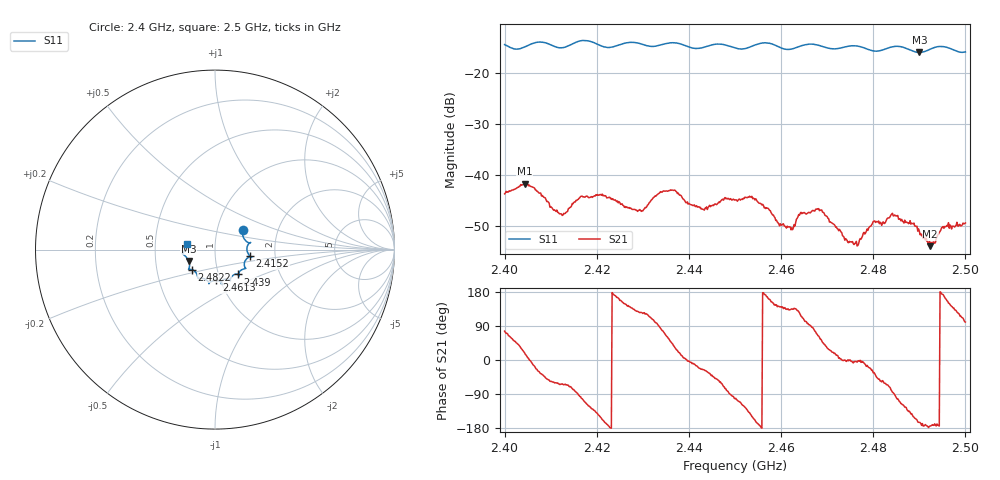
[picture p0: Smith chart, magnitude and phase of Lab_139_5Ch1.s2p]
# Hz S RI R 50
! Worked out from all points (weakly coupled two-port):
!   601 points, 2.4 GHz to 2.5 GHz, reference 50 ohm
!   highest |S21| = -41.73 dB at 2.4043 GHz (marker M1); lowest = -54.0 dB at 2.4923 GHz (marker M2)
!   lowest |S11| = -15.9 dB at 2.49 GHz (marker M3), VSWR 1.38, Z = 36.9 - j4.83 ohm
!   |S11| at or under -10 dB: start of sweep to end of sweep
!   S12 and S22 are empty: the file has one direction only
!   S11 on the Smith chart (normalised r, x): 2.4 GHz: 1.33, +0.31; 2.4152 GHz: 1.48, -0.11; 2.439 GHz: 1.24, -0.36; 2.4613 GHz: 0.96, -0.34; 2.4822 GHz: 0.76, -0.17; 2.5 GHz: 0.73, +0.05
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2.4e9  0.1551 0.1118  0.00155 0.00632  0 0  0 0
2.404333e9  0.1753 0.0454  0.00775 0.00268  0 0  0 0
2.412167e9  0.1776 0.00362  0.00183 -0.00373  0 0  0 0
2.415167e9  0.1951 -0.0364  0.000861 -0.00535  0 0  0 0
2.416667e9  0.2048 -0.0424  -0.00119 -0.00605  0 0  0 0
2.429333e9  0.1647 -0.1061  -0.00262 0.00374  0 0  0 0
2.433333e9  0.1321 -0.1324  -0.000204 0.00651  0 0  0 0
2.439e9  0.1277 -0.1386  0.00563 0.000524  0 0  0 0
2.443167e9  0.0895 -0.1556  0.00413 -0.00196  0 0  0 0
2.45e9  0.069 -0.1635  -0.0012 -0.00555  0 0  0 0
2.454e9  0.0351 -0.1835  -0.00533 -0.00255  0 0  0 0
2.461333e9  0.00747 -0.1711  -0.00215 0.00228  0 0  0 0
2.466667e9  -0.0339 -0.1902  0.000287 0.0044  0 0  0 0
2.468667e9  -0.035 -0.1817  0.00262 0.00369  0 0  0 0
2.476167e9  -0.0944 -0.16  0.00212 -0.000129  0 0  0 0
2.480167e9  -0.1081 -0.1252  0.00295 -0.00192  0 0  0 0
2.482167e9  -0.1282 -0.1117  0.0019 -0.00288  0 0  0 0
2.483333e9  -0.1394 -0.1101  0.00137 -0.00352  0 0  0 0
2.49e9  -0.1467 -0.0637  -0.0027 -0.000739  0 0  0 0
2.492333e9  -0.1689 -0.0331  -0.00198 -0.000199  0 0  0 0
2.495333e9  -0.1811 -0.0204  -0.00293 0.00057  0 0  0 0
2.5e9  -0.1583 0.034  -0.00059 0.00332  0 0  0 0
